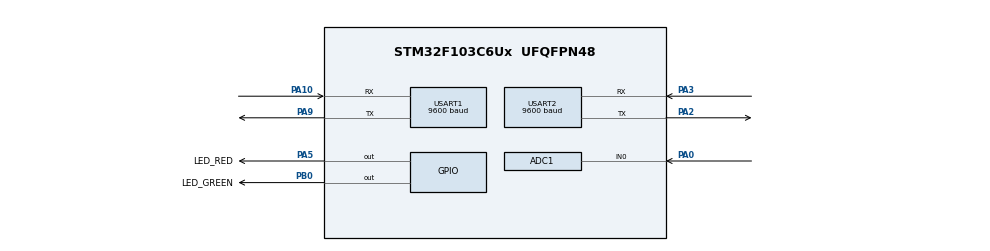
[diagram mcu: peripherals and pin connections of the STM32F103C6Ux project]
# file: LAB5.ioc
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ADC1.Channel-1\#ChannelRegularConversion=ADC_CHANNEL_0
ADC1.ContinuousConvMode=ENABLE
ADC1.NbrOfConversionFlag=1
ADC1.Rank-1\#ChannelRegularConversion=1
ADC1.SamplingTime-1\#ChannelRegularConversion=ADC_SAMPLETIME_1CYCLE_5
ADC1.master=1
Mcu.Family=STM32F1
Mcu.Name=STM32F103C6Ux
Mcu.Package=UFQFPN48
NVIC.PriorityGroup=NVIC_PRIORITYGROUP_4
NVIC.USART1_IRQn=true\:0\:0\:false\:false\:true\:true\:true\:true
NVIC.USART2_IRQn=true\:0\:0\:false\:false\:true\:true\:true\:true
PA0-WKUP.Signal=ADCx_IN0
PA10.Mode=Asynchronous
PA10.Signal=USART1_RX
PA2.Mode=Asynchronous
PA2.Signal=USART2_TX
PA3.Mode=Asynchronous
PA3.Signal=USART2_RX
PA5.GPIO_Label=LED_RED
PA5.Signal=GPIO_Output
PA9.Mode=Asynchronous
PA9.Signal=USART1_TX
PB0.GPIO_Label=LED_GREEN
PB0.Signal=GPIO_Output
ProjectManager.HeapSize=0x200
ProjectManager.StackSize=0x400
ProjectManager.TargetToolchain=STM32CubeIDE
RCC.APB1Freq_Value=8000000
RCC.APB2Freq_Value=8000000
SH.ADCx_IN0.0=ADC1_IN0,IN0
USART1.BaudRate=9600
USART1.VirtualMode=VM_ASYNC
USART2.BaudRate=9600
USART2.VirtualMode=VM_ASYNC
VP_SYS_VS_ND.Mode=No_Debug
board=custom

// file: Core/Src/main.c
/* USER CODE BEGIN Header */
/**
  ******************************************************************************
  * @file           : main.c
  * @brief          : Main program body
  ******************************************************************************
  * @attention
  *
  * Copyright (c) 2024 STMicroelectronics.
  * All rights reserved.
  *
  * This software is licensed under terms that can be found in the LICENSE file
  * in the root directory of this software component.
  * If no LICENSE file comes with this software, it is provided AS-IS.
  *
  ******************************************************************************
  */
/* USER CODE END Header */
#include "main.h"

/* USER CODE BEGIN Includes */
#include <stdio.h>
#include "string.h"
/* USER CODE END Includes */

/* USER CODE BEGIN PD */
#define MAX_BUFFER_SIZE 30

/* USER CODE END PD */

ADC_HandleTypeDef hadc1;

UART_HandleTypeDef huart1;
UART_HandleTypeDef huart2;

/* USER CODE BEGIN PV */
float ADC_value = 0;
uint8_t buffer [ MAX_BUFFER_SIZE ];
uint8_t index_buffer = 0;
uint8_t flag = 0;
uint8_t data = 0;
uint32_t timer = 0;
char message[30];
uint8_t send_flag = 0;
/* USER CODE END PV */

void SystemClock_Config(void);
static void MX_GPIO_Init(void);
static void MX_USART2_UART_Init(void);
static void MX_ADC1_Init(void);
static void MX_USART1_UART_Init(void);

int main(void)
{

  /* MCU Configuration--------------------------------------------------------*/

  /* Reset of all peripherals, Initializes the Flash interface and the Systick. */
  HAL_Init();

  /* Configure the system clock */
  SystemClock_Config();

  /* Initialize all configured peripherals */
  MX_GPIO_Init();
  MX_USART2_UART_Init();
  MX_ADC1_Init();
  MX_USART1_UART_Init();
  /* USER CODE BEGIN 2 */
  HAL_UART_Receive_IT (& huart2 , &data , 1);
  HAL_UART_Receive_IT (& huart1 , &data , 1);
  HAL_ADC_Start(&hadc1);
  /* USER CODE END 2 */

  /* Infinite loop */
  /* USER CODE BEGIN WHILE */
  while (1)
  {
	  if(flag == 1){
		  HAL_GPIO_TogglePin(LED_GREEN_GPIO_Port, LED_GREEN_Pin);
			buffer[index_buffer] = '\0';
			if(!strcmp((char *) buffer, "SEND") || buffer[0] == '1'){
				sprintf (message , "BEGIN SEND \r\n" );
				send_flag  = 1;
			}
			else if(!strcmp((char *) buffer, "STOP") || buffer[0] == '0'){
				sprintf (message , "STOP SEND\r\n" );
				send_flag  = 0;
			}
			else {
				sprintf (message , "ERROR COMMAND\r\n" );
				HAL_UART_Transmit (& huart2, (uint8_t *) message, strlen(message), 1000) ;
			}
			HAL_UART_Transmit (& huart2, (uint8_t *) message, strlen(message), 1000) ;
		    memset(buffer, 0, MAX_BUFFER_SIZE);
		    index_buffer = 0;
	  	  flag = 0;
	  }
	  if(send_flag){
			if(HAL_GetTick() - timer >= 2000){
				timer = HAL_GetTick();
				ADC_value = (float)(HAL_ADC_GetValue (& hadc1 ) * 5) / 4096;
				sprintf (message , "ADC_value: %0.2f \r\n", ADC_value );
				HAL_UART_Transmit (& huart2, (uint8_t *) message, strlen(message), 1000) ;
			}
	  }
  	  HAL_Delay(10);
    /* USER CODE END WHILE */

  }
}

void SystemClock_Config(void)
{
  RCC_OscInitTypeDef RCC_OscInitStruct = {0};
  RCC_ClkInitTypeDef RCC_ClkInitStruct = {0};
  RCC_PeriphCLKInitTypeDef PeriphClkInit = {0};

  /** Initializes the RCC Oscillators according to the specified parameters
  * in the RCC_OscInitTypeDef structure.
  */
  RCC_OscInitStruct.OscillatorType = RCC_OSCILLATORTYPE_HSI;
  RCC_OscInitStruct.HSIState = RCC_HSI_ON;
  RCC_OscInitStruct.HSICalibrationValue = RCC_HSICALIBRATION_DEFAULT;
  RCC_OscInitStruct.PLL.PLLState = RCC_PLL_NONE;
  if (HAL_RCC_OscConfig(&RCC_OscInitStruct) != HAL_OK)
  {
    Error_Handler();
  }

  /** Initializes the CPU, AHB and APB buses clocks
  */
  RCC_ClkInitStruct.ClockType = RCC_CLOCKTYPE_HCLK|RCC_CLOCKTYPE_SYSCLK
                              |RCC_CLOCKTYPE_PCLK1|RCC_CLOCKTYPE_PCLK2;
  RCC_ClkInitStruct.SYSCLKSource = RCC_SYSCLKSOURCE_HSI;
  RCC_ClkInitStruct.AHBCLKDivider = RCC_SYSCLK_DIV1;
  RCC_ClkInitStruct.APB1CLKDivider = RCC_HCLK_DIV1;
  RCC_ClkInitStruct.APB2CLKDivider = RCC_HCLK_DIV1;

  if (HAL_RCC_ClockConfig(&RCC_ClkInitStruct, FLASH_LATENCY_0) != HAL_OK)
  {
    Error_Handler();
  }
  PeriphClkInit.PeriphClockSelection = RCC_PERIPHCLK_ADC;
  PeriphClkInit.AdcClockSelection = RCC_ADCPCLK2_DIV2;
  if (HAL_RCCEx_PeriphCLKConfig(&PeriphClkInit) != HAL_OK)
  {
    Error_Handler();
  }
}

static void MX_ADC1_Init(void)
{

  ADC_ChannelConfTypeDef sConfig = {0};

  /** Common config
  */
  hadc1.Instance = ADC1;
  hadc1.Init.ScanConvMode = ADC_SCAN_DISABLE;
  hadc1.Init.ContinuousConvMode = ENABLE;
  hadc1.Init.DiscontinuousConvMode = DISABLE;
  hadc1.Init.ExternalTrigConv = ADC_SOFTWARE_START;
  hadc1.Init.DataAlign = ADC_DATAALIGN_RIGHT;
  hadc1.Init.NbrOfConversion = 1;
  if (HAL_ADC_Init(&hadc1) != HAL_OK)
  {
    Error_Handler();
  }

  /** Configure Regular Channel
  */
  sConfig.Channel = ADC_CHANNEL_0;
  sConfig.Rank = ADC_REGULAR_RANK_1;
  sConfig.SamplingTime = ADC_SAMPLETIME_1CYCLE_5;
  if (HAL_ADC_ConfigChannel(&hadc1, &sConfig) != HAL_OK)
  {
    Error_Handler();
  }

}

static void MX_USART1_UART_Init(void)
{

  huart1.Instance = USART1;
  huart1.Init.BaudRate = 9600;
  huart1.Init.WordLength = UART_WORDLENGTH_8B;
  huart1.Init.StopBits = UART_STOPBITS_1;
  huart1.Init.Parity = UART_PARITY_NONE;
  huart1.Init.Mode = UART_MODE_TX_RX;
  huart1.Init.HwFlowCtl = UART_HWCONTROL_NONE;
  huart1.Init.OverSampling = UART_OVERSAMPLING_16;
  if (HAL_UART_Init(&huart1) != HAL_OK)
  {
    Error_Handler();
  }

}

static void MX_USART2_UART_Init(void)
{

  huart2.Instance = USART2;
  huart2.Init.BaudRate = 9600;
  huart2.Init.WordLength = UART_WORDLENGTH_8B;
  huart2.Init.StopBits = UART_STOPBITS_1;
  huart2.Init.Parity = UART_PARITY_NONE;
  huart2.Init.Mode = UART_MODE_TX_RX;
  huart2.Init.HwFlowCtl = UART_HWCONTROL_NONE;
  huart2.Init.OverSampling = UART_OVERSAMPLING_16;
  if (HAL_UART_Init(&huart2) != HAL_OK)
  {
    Error_Handler();
  }

}

static void MX_GPIO_Init(void)
{
  GPIO_InitTypeDef GPIO_InitStruct = {0};

  /* GPIO Ports Clock Enable */
  __HAL_RCC_GPIOA_CLK_ENABLE();
  __HAL_RCC_GPIOB_CLK_ENABLE();

  /*Configure GPIO pin Output Level */
  HAL_GPIO_WritePin(LED_RED_GPIO_Port, LED_RED_Pin, GPIO_PIN_RESET);

  /*Configure GPIO pin Output Level */
  HAL_GPIO_WritePin(LED_GREEN_GPIO_Port, LED_GREEN_Pin, GPIO_PIN_RESET);

  /*Configure GPIO pin : LED_RED_Pin */
  GPIO_InitStruct.Pin = LED_RED_Pin;
  GPIO_InitStruct.Mode = GPIO_MODE_OUTPUT_PP;
  GPIO_InitStruct.Pull = GPIO_NOPULL;
  GPIO_InitStruct.Speed = GPIO_SPEED_FREQ_LOW;
  HAL_GPIO_Init(LED_RED_GPIO_Port, &GPIO_InitStruct);

  /*Configure GPIO pin : LED_GREEN_Pin */
  GPIO_InitStruct.Pin = LED_GREEN_Pin;
  GPIO_InitStruct.Mode = GPIO_MODE_OUTPUT_PP;
  GPIO_InitStruct.Pull = GPIO_NOPULL;
  GPIO_InitStruct.Speed = GPIO_SPEED_FREQ_LOW;
  HAL_GPIO_Init(LED_GREEN_GPIO_Port, &GPIO_InitStruct);

}

/* USER CODE BEGIN 4 */
void HAL_UART_RxCpltCallback ( UART_HandleTypeDef * huart ){
	if(huart -> Instance == USART2 ){ //  VIRTUAL TERMINAL
		buffer[ index_buffer ++] = data ;
		if( index_buffer == MAX_BUFFER_SIZE)
			index_buffer = 0;
		flag = 1;
		HAL_UART_Receive_IT(&huart2, &data, 1);
	}
	if(huart -> Instance == USART1 ){ // VIRTUAL COM
		buffer [ index_buffer ++] = data ;
		if( index_buffer == MAX_BUFFER_SIZE)
			index_buffer = 0;
		flag = 1;
		HAL_UART_Receive_IT(&huart1, &data, 1);
	}
}
/* USER CODE END 4 */

void Error_Handler(void)
{
  __disable_irq();
  while (1)
  {
  }
}
